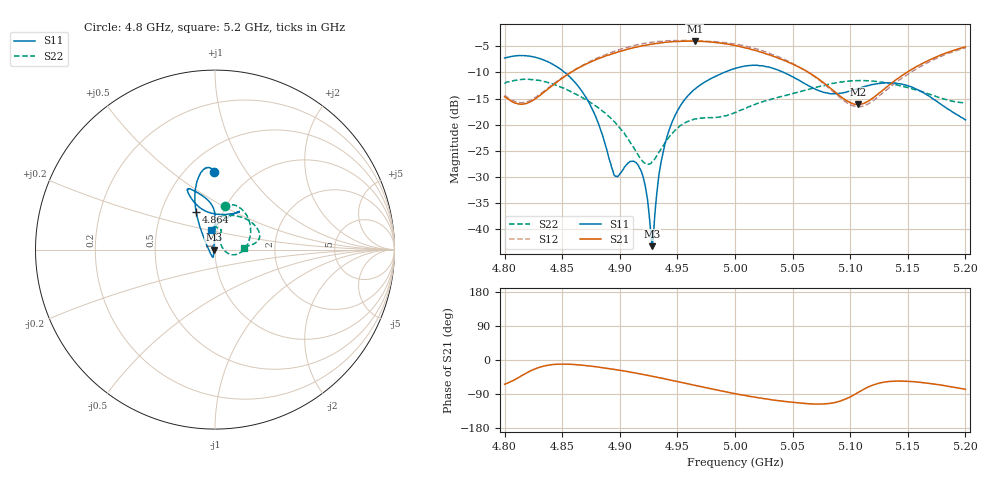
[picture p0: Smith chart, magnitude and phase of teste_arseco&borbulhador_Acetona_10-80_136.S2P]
! Network Analyzer HP8722D
! Hewlett-Packard
! Data name: Linha & Wilkinson
! Saver's name: Rodrigo Anjos
! Comments: Teste da utilização de aquisição
! continua pelo VNA HP8722D
! Time and date: 25/4/2025 16:24
!  Frequency  S11  S21  S12  S22
# HZ  S  MA R 50
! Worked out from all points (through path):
!   401 points, 4.8 GHz to 5.2 GHz, reference 50 ohm
!   highest |S21| = -3.97 dB at 4.965 GHz (marker M1); lowest = -16.1 dB at 5.107 GHz (marker M2)
!   lowest |S11| = -43.3 dB at 4.928 GHz (marker M3), VSWR 1.01, Z = 49.3 - j0.0427 ohm
!   |S11| at or under -10 dB: 4.852 GHz to 4.991 GHz (138.5 MHz wide, 2.81 % of centre); 5.042 GHz to end of sweep
!   |S22| runs from -27.6 to -11.3 dB; largest |S21 - S12| = 1.2
!   S11 on the Smith chart (normalised r, x): 4.8 GHz: 0.68, +0.72; 4.864 GHz: 0.75, +0.33; 5.2 GHz: 0.94, +0.21
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4.8e9  0.4349 90.7  0.1855 -63.9  0.1912 69.6  0.2466 77.1
4.82e9  0.4539 97.1  0.1613 -32.6  0.1668 98.3  0.2724 61.7
4.864e9  0.2326 116.7  0.349 -12.6  0.352 121.1  0.1909 12.2
4.867e9  0.2097 118.5  0.3626 -13.8  0.3672 120.7  0.183 8.9
4.88e9  0.1122 128.5  0.4224 -18.2  0.4327 118.3  0.1488 -5.0
4.896e9  0.03206 -166.6  0.4858 -25.2  0.5075 113.4  0.105 -15.7
4.91e9  0.04447 -106.7  0.5387 -32.3  0.563 107.4  0.06506 -14.0
4.917e9  0.03866 -103.1  0.5612 -36.3  0.5893 103.6  0.04883 -1.2
4.922e9  0.02615 -106.6  0.5738 -38.9  0.602 101.0  0.04251 15.7
4.928e9  0.006847 -176.4  0.5894 -42.8  0.617 97.3  0.04402 40.2
4.93e9  0.01189 123.2  0.5961 -44.1  0.621 95.9  0.04625 47.7
4.934e9  0.03343 99.2  0.6037 -46.6  0.6285 93.4  0.05442 57.9
4.939e9  0.06403 93.1  0.6148 -49.6  0.6343 90.0  0.06617 65.9
4.946e9  0.1096 89.9  0.6245 -54.5  0.6382 85.7  0.0834 69.7
4.965e9  0.2181 91.1  0.6333 -66.8  0.6364 73.6  0.1134 71.6
5e9  0.3456 109.2  0.5722 -88.9  0.593 50.9  0.1307 88.3
5.031e9  0.3515 115.3  0.4607 -104.7  0.4781 33.5  0.1748 84.7
5.067e9  0.2272 105.5  0.3019 -115.8  0.2988 23.6  0.2223 57.4
5.107e9  0.2224 64.2  0.1559 -85.2  0.1481 57.6  0.2637 24.2
5.134e9  0.2511 57.4  0.2403 -56.6  0.2258 88.7  0.2483 12.5
5.169e9  0.186 70.0  0.4173 -61.9  0.4006 85.0  0.1948 6.9
5.2e9  0.1112 100.5  0.5547 -77.5  0.5444 70.3  0.1616 3.9
